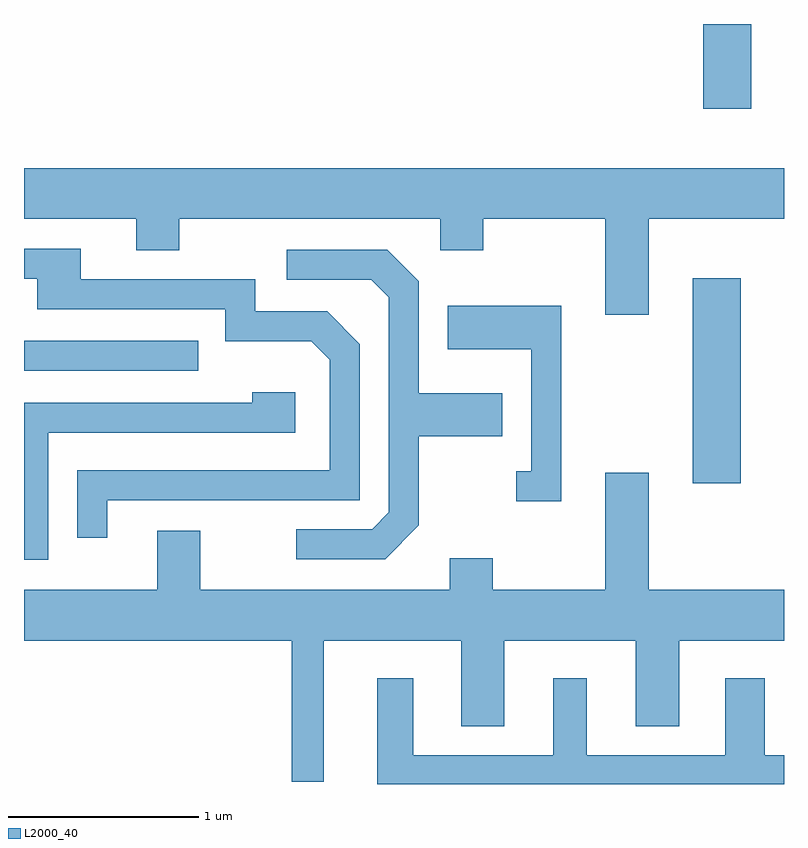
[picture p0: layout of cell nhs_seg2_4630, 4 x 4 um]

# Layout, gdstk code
import gdstk
lib = gdstk.Library(unit=1e-6, precision=1e-09)
def R(c, l, rs):  # rectangles x0, y0, x1, y1
    for r in rs: c.add(gdstk.rectangle(r[:2], r[2:], *l))
def P(c, l, *ps):  # polygons
    for p in ps: c.add(gdstk.Polygon(p, *l))
L2000_40 = (2000, 40)

nhs_seg2_4630 = lib.new_cell('nhs_seg2_4630')
R(nhs_seg2_4630, L2000_40, [(325.131,1031.386,325.384,1032.464), (321.611,1031.976,322.528,1032.134), (325.186,1033.356,325.439,1033.802)])
P(nhs_seg2_4630, L2000_40, [(324.899,1032.776),(325.611,1032.776),(325.611,1033.044),(321.611,1033.044),(321.611,1032.776),(322.201,1032.776),(322.201,1032.611),(322.429,1032.611),(322.429,1032.776),(323.801,1032.776),(323.801,1032.611),(324.029,1032.611),(324.029,1032.776),(324.671,1032.776),(324.671,1032.271),(324.899,1032.271)],
  [(322.049,1031.296),(323.379,1031.296),(323.379,1032.117),(323.207,1032.289),(322.829,1032.289),(322.829,1032.459),(321.909,1032.459),(321.909,1032.619),(321.611,1032.619),(321.611,1032.461),(321.681,1032.461),(321.681,1032.301),(322.671,1032.301),(322.671,1032.131),(323.124,1032.131),(323.221,1032.034),(323.221,1031.454),(321.891,1031.454),(321.891,1031.098),(322.049,1031.098)],
  [(323.689,1031.164),(323.689,1031.631),(324.129,1031.631),(324.129,1031.859),(323.689,1031.859),(323.689,1032.447),(323.522,1032.614),(322.993,1032.614),(322.993,1032.456),(323.439,1032.456),(323.531,1032.363),(323.531,1031.232),(323.444,1031.144),(323.043,1031.144),(323.043,1030.986),(323.512,1030.986)],
  [(324.439,1032.319),(323.841,1032.319),(323.841,1032.091),(324.281,1032.091),(324.281,1031.449),(324.203,1031.449),(324.203,1031.291),(324.439,1031.291)],
  [(321.739,1031.651),(323.039,1031.651),(323.039,1031.864),(322.811,1031.864),(322.811,1031.809),(321.611,1031.809),(321.611,1030.981),(321.739,1030.981)],
  [(323.189,1030.556),(323.911,1030.556),(323.911,1030.106),(324.139,1030.106),(324.139,1030.556),(324.831,1030.556),(324.831,1030.106),(325.059,1030.106),(325.059,1030.556),(325.611,1030.556),(325.611,1030.824),(324.899,1030.824),(324.899,1031.439),(324.671,1031.439),(324.671,1030.824),(324.079,1030.824),(324.079,1030.989),(323.851,1030.989),(323.851,1030.824),(322.539,1030.824),(322.539,1031.134),(322.311,1031.134),(322.311,1030.824),(321.611,1030.824),(321.611,1030.556),(323.021,1030.556),(323.021,1029.813),(323.189,1029.813)],
  [(325.611,1029.954),(325.509,1029.954),(325.509,1030.359),(325.301,1030.359),(325.301,1029.954),(324.574,1029.954),(324.574,1030.359),(324.396,1030.359),(324.396,1029.954),(323.659,1029.954),(323.659,1030.359),(323.471,1030.359),(323.471,1029.802),(325.611,1029.802)])

lib.write_gds('nhs_seg2_4630.gds')
